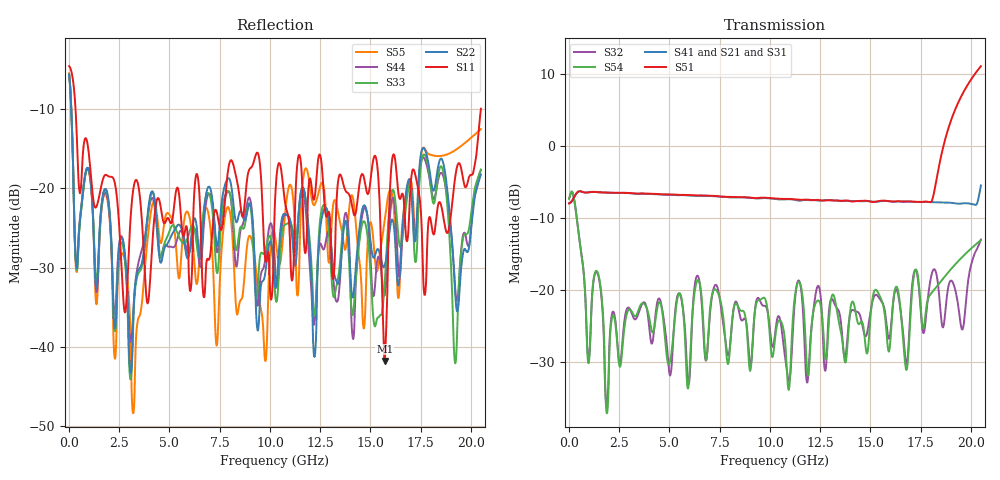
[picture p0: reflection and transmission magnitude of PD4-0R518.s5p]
! MARKI MICROWAVE INC.
! Email:  info@markimicrowave.com  Phone:  408-778-4200
! Model Number:  PD4-0R518  Date:  06/13
! Filename:		PD4_0R518.S5P  Version: 1.0
! Description:  5-port S-parameter data for 4 Way Power Divider PD4-0R518
! Frequency Range: 	10 MHz to 20.5 GHz
! Port Configuration:	PORT 1: COMMON
!  PORT 2: Output 1
!  Port 3: Output 2
!  Port 4: Output 3
!  Port 5: Output 4
! S5P File: Measurements: Mag<S11> Ang<S11> Mag<S12> Ang<S12> Mag<S13> Ang<S13> Mag<S14> Ang<S14> ! row 1
!  Mag<S15> Ang<S15>
!  Mag<S21> Ang<S21> Mag<S22> Ang<S22> Mag<S23> Ang<S23> Mag<S24> Ang<S24> ! row 2
!  Mag<S25> Ang<S25>
!  Mag<S31> Ang<S31> Mag<S32> Ang<S32> Mag<S33> Ang<S33> Mag<S34> Ang<S34> ! row 3
!  Mag<S35> Ang<S35>
!  Mag<S41> Ang<S41> Mag<S42> Ang<S42> Mag<S43> Ang<S43> Mag<S44> Ang<S44> ! row 4
!  Mag<S45> Ang<S45>
!  Mag<S51> Ang<S51> Mag<S52> Ang<S52> Mag<S53> Ang<S53> Mag<S54> Ang<S54> ! row 5
!  Mag<S55> Ang<S55>
# GHz S DB R 50
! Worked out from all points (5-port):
!   800 points, 10 MHz to 20.5 GHz, reference 50 ohm
!   strongest paths, dB at 10 MHz, 5.142 GHz, 10.27 GHz, 15.41 GHz, 20.5 GHz:
!     S51: -8.0, -6.7, -7.3, -7.6, 11.2
!     S41: -8.0, -6.8, -7.3, -7.7, -5.5
!     S21: -7.9, -6.8, -7.4, -7.8, -5.6
!     S31: -8.0, -6.8, -7.4, -7.8, -5.6
!     S54: -7.3, -27.9, -26.3, -20.5, -13.1
!     S32: -7.3, -29.3, -25.7, -21.0, -13.0
!   lowest |S11| = -41.8 dB at 15.71 GHz (marker M1), VSWR 1.02, Z = 49.2 - j0.228 ohm
!   |S11| at or under -10 dB: 328.2 MHz to end of sweep
